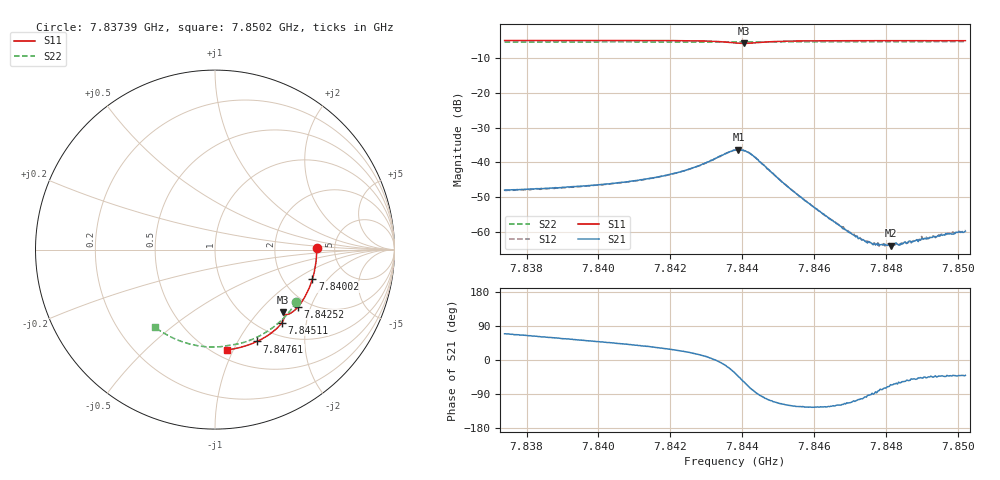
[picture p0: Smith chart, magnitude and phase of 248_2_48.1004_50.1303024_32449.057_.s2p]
#  HZ  S  RI  R  50.00
! Rohde & Schwarz Vector Network Analyzer
! Rohde-Schwarz,ZNB20-2Port,1311601062101988,3.16
! Created: UTC 12/23/2023, 3:59:28 AM
! freq[Hz]  re:S11  im:S11  re:S21  im:S21  re:S12  im:S12  re:S22  im:S22
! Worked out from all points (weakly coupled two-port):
!   401 points, 7.83739 GHz to 7.8502 GHz, reference 50 ohm
!   highest |S21| = -36.33 dB at 7.84389 GHz (marker M1); lowest = -63.9 dB at 7.84812 GHz (marker M2)
!   lowest |S11| = -5.8 dB at 7.84405 GHz (marker M3), VSWR 3.12, Z = 72.1 - j68.6 ohm
!   |S11| at or under -10 dB: nowhere
!   |S22| runs from -5.4 to -5.3 dB; largest |S21 - S12| = 0.0003
!   S11 on the Smith chart (normalised r, x): 7.83739 GHz: 3.61, +0.11; 7.84002 GHz: 2.88, -1.39; 7.84252 GHz: 1.76, -1.63; 7.84511 GHz: 1.24, -1.46; 7.84761 GHz: 0.81, -1.21; 7.8502 GHz: 0.58, -0.95
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7.837391e9  0.5663 0.0101  0.00142 0.00373  0.00143 0.00367  0.4531 -0.293
7.839537e9  0.5513 -0.1319  0.00278 0.0036  0.00276 0.00358  0.3555 -0.4071
7.840017e9  0.5429 -0.1631  0.00319 0.00357  0.00314 0.00354  0.3296 -0.4286
7.841683e9  0.498 -0.2679  0.00525 0.00332  0.00521 0.0033  0.2303 -0.4899
7.842515e9  0.4636 -0.3177  0.00748 0.00275  0.00745 0.00274  0.1759 -0.512
7.843316e9  0.4149 -0.3575  0.0118 -0.000677  0.0118 -0.000629  0.1216 -0.5267
7.843796e9  0.3802 -0.3579  0.0124 -0.0085  0.0123 -0.00842  0.0894 -0.5316
7.843892e9  0.3771 -0.3543  0.011 -0.0106  0.011 -0.0104  0.0833 -0.5325
7.844053e9  0.3772 -0.3498  0.0077 -0.0125  0.00785 -0.0125  0.0734 -0.534
7.844309e9  0.3849 -0.3536  0.00197 -0.0122  0.00199 -0.0122  0.0569 -0.5369
7.84511e9  0.373 -0.4068  -0.0023 -0.00466  -0.00231 -0.0047  0.0011 -0.5427
7.845942e9  0.3316 -0.451  -0.00136 -0.00195  -0.00135 -0.00195  -0.0576 -0.5406
7.846935e9  0.2753 -0.4904  -0.000407 -0.000924  -0.000422 -0.000957  -0.1266 -0.5292
7.847352e9  0.2505 -0.5039  -0.000158 -0.000757  -0.0001 -0.000771  -0.1548 -0.5221
7.847608e9  0.2348 -0.5115  2.68e-05 -0.000674  -1.65e-05 -0.000675  -0.1721 -0.5168
7.847768e9  0.2248 -0.516  8.93e-05 -0.000637  0.000107 -0.000691  -0.1828 -0.5132
7.848088e9  0.2052 -0.5243  0.000232 -0.000623  0.00026 -0.000631  -0.2039 -0.5055
7.84812e9  0.2031 -0.5251  0.000268 -0.000579  0.000248 -0.000597  -0.2059 -0.5046
7.848408e9  0.1847 -0.5318  0.000347 -0.000592  0.000356 -0.000556  -0.2246 -0.4969
7.848633e9  0.1705 -0.5365  0.000427 -0.000598  0.000395 -0.000588  -0.2388 -0.4902
7.849049e9  0.144 -0.5442  0.000563 -0.000564  0.000543 -0.000581  -0.2649 -0.477
7.850202e9  0.0685 -0.5583  0.000779 -0.000668  0.000794 -0.000709  -0.3329 -0.433
